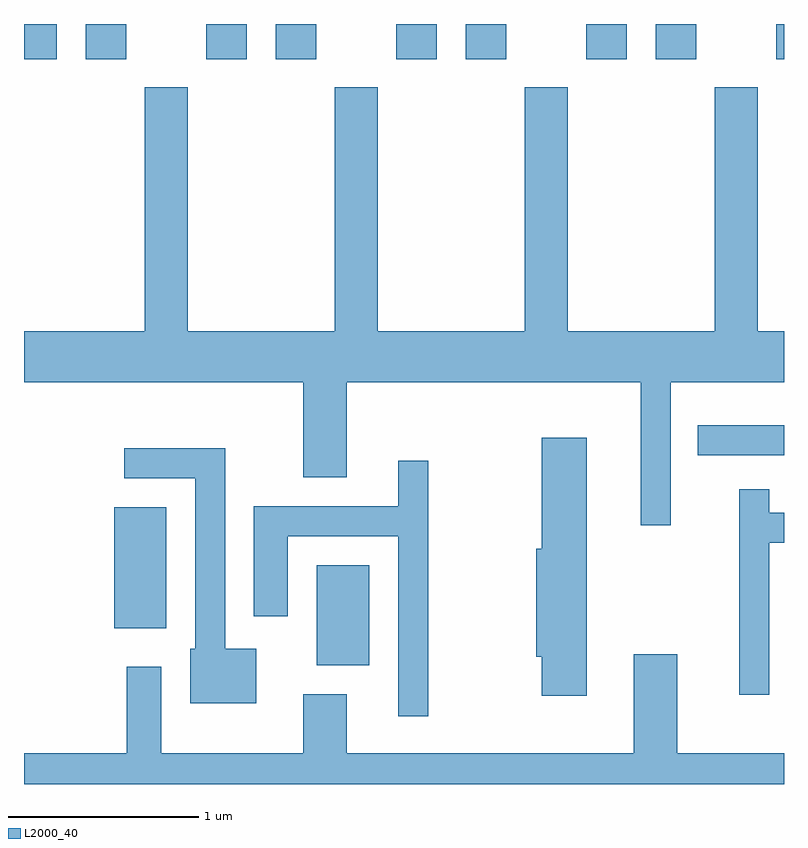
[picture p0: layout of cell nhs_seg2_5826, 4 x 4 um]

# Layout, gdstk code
import gdstk
lib = gdstk.Library(unit=1e-6, precision=1e-09)
def R(c, l, rs):  # rectangles x0, y0, x1, y1
    for r in rs: c.add(gdstk.rectangle(r[:2], r[2:], *l))
def P(c, l, *ps):  # polygons
    for p in ps: c.add(gdstk.Polygon(p, *l))
L2000_40 = (2000, 40)

nhs_seg2_5826 = lib.new_cell('nhs_seg2_5826')
R(nhs_seg2_5826, L2000_40, [(359.151,1002.426,359.429,1002.954), (358.086,1002.621,358.359,1003.259), (361.158,1003.531,361.611,1003.689), (357.611,1005.616,357.784,1005.802), (357.936,1005.616,358.149,1005.802), (358.571,1005.616,358.784,1005.802), (358.936,1005.616,359.149,1005.802), (359.571,1005.616,359.784,1005.802), (359.936,1005.616,360.149,1005.802), (360.571,1005.616,360.784,1005.802), (360.936,1005.616,361.149,1005.802), (361.571,1005.616,361.611,1005.802)])
P(nhs_seg2_5826, L2000_40, [(361.014,1003.916),(361.611,1003.916),(361.611,1004.184),(361.474,1004.184),(361.474,1005.469),(361.246,1005.469),(361.246,1004.184),(360.474,1004.184),(360.474,1005.469),(360.246,1005.469),(360.246,1004.184),(359.474,1004.184),(359.474,1005.469),(359.246,1005.469),(359.246,1004.184),(358.474,1004.184),(358.474,1005.469),(358.246,1005.469),(358.246,1004.184),(357.611,1004.184),(357.611,1003.916),(359.081,1003.916),(359.081,1003.416),(359.309,1003.416),(359.309,1003.916),(360.856,1003.916),(360.856,1003.163),(361.014,1003.163)],
  [(360.574,1003.624),(360.336,1003.624),(360.336,1003.039),(360.306,1003.039),(360.306,1002.471),(360.336,1002.471),(360.336,1002.266),(360.574,1002.266)],
  [(358.834,1002.514),(358.669,1002.514),(358.669,1003.569),(358.138,1003.569),(358.138,1003.411),(358.511,1003.411),(358.511,1002.514),(358.486,1002.514),(358.486,1002.226),(358.834,1002.226)],
  [(359.739,1003.503),(359.581,1003.503),(359.581,1003.264),(358.821,1003.264),(358.821,1002.686),(358.999,1002.686),(358.999,1003.106),(359.581,1003.106),(359.581,1002.158),(359.739,1002.158)],
  [(361.534,1003.071),(361.611,1003.071),(361.611,1003.229),(361.534,1003.229),(361.534,1003.353),(361.376,1003.353),(361.376,1002.273),(361.534,1002.273)],
  [(361.611,1001.964),(361.049,1001.964),(361.049,1002.484),(360.821,1002.484),(360.821,1001.964),(359.309,1001.964),(359.309,1002.274),(359.081,1002.274),(359.081,1001.964),(358.334,1001.964),(358.334,1002.419),(358.151,1002.419),(358.151,1001.964),(357.611,1001.964),(357.611,1001.802),(361.611,1001.802)])

lib.write_gds('nhs_seg2_5826.gds')
